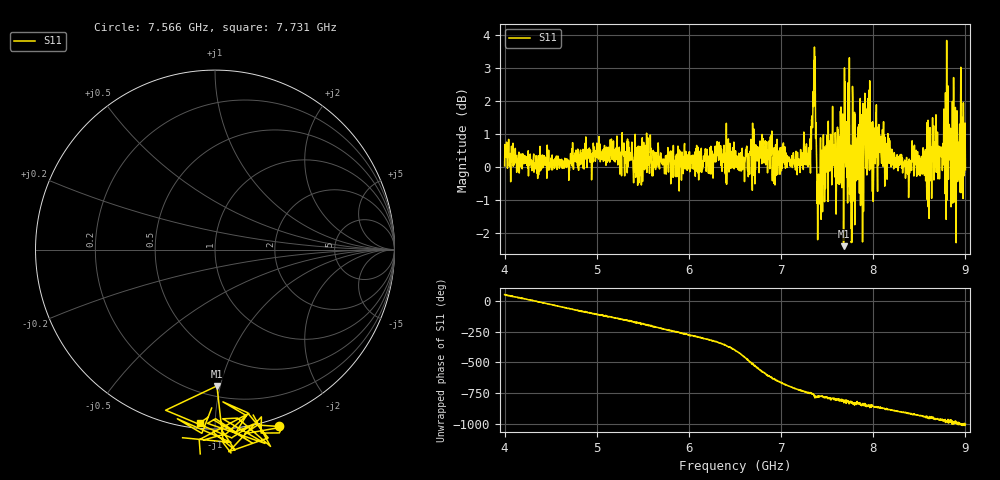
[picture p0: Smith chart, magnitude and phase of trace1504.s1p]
! Created with skrf 1.8.0 (http://scikit-rf.org).
# Hz S RI R 50.0
!freq ReS11 ImS11
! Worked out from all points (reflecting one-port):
!   1601 points, 4 GHz to 9 GHz, reference 50 ohm
!   lowest |S11| = -2.4 dB at 7.678 GHz (marker M1), VSWR 7.32, Z = 13.6 - j48.8 ohm
!   phase of S11 starts at 50 deg and turns -1050 deg over the sweep
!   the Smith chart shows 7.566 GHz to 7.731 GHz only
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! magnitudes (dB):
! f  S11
! 4 GHz  0.0
! 4.625 GHz  0.0
! 5.25 GHz  -0.2
! 5.875 GHz  0.1
! 6.5 GHz  0.1
! 7.125 GHz  0.3
! 7.294 GHz  0.2
! 7.356 GHz  3.2
! 7.412 GHz  -1.0
! 7.481 GHz  -0.6
! 7.616 GHz  -0.5
! 7.628 GHz  0.9
! 7.678 GHz  -2.4
! 7.716 GHz  -0.3
! 7.75 GHz  -0.6
! 7.769 GHz  -0.2
! 7.8 GHz  -1.7
! 7.875 GHz  0.9
! 7.928 GHz  0.1
! 7.997 GHz  0.9
! 8.053 GHz  1.0
! 8.375 GHz  -0.2
! 8.666 GHz  0.4
! 8.725 GHz  0.4
! 8.822 GHz  1.2
! 8.875 GHz  0.7
! 8.972 GHz  0.8
! 9 GHz  -0.1
